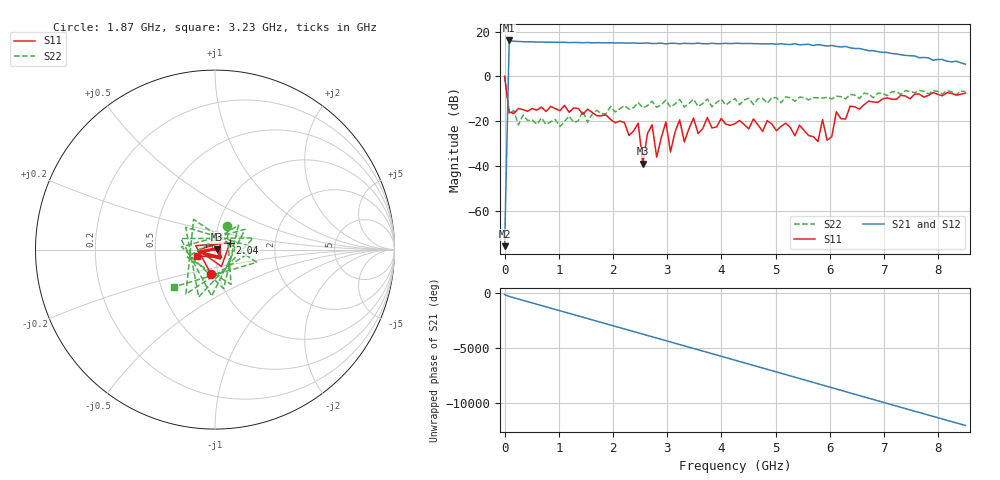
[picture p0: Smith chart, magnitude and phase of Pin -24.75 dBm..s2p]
! RsaToolbox (C) 2013 Rohde & Schwarz America
! Number of points: 101
! Number of ports: 2
! Balanced ports?: 0
# Hz S RI R 50
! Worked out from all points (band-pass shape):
!   101 points, 9 kHz to 8.5 GHz, reference 50 ohm
!   highest |S21| = 16.10 dB at 85.01 MHz (marker M1); lowest = -75.9 dB at 9 kHz (marker M2)
!   |S21| within 3 dB of the highest: 82.24 MHz to 6.334 GHz (6.252 GHz wide, 195 % of centre)
!   lowest |S11| = -39.0 dB at 2.55 GHz (marker M3), VSWR 1.02, Z = 51.1 + j0.28 ohm
!   |S11| at or under -10 dB: 53.57 MHz to 6.987 GHz (6.933 GHz wide, 197 % of centre); 7.119 GHz to 7.236 GHz (116.1 MHz wide, 1.62 % of centre); 7.479504 GHz to 7.480298 GHz (793.8 kHz wide, 0.0106 % of centre)
!   |S22| runs from -22.4 to 0.2 dB; largest |S21 - S12| = 0
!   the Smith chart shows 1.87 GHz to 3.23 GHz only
!   S11 on the Smith chart (normalised r, x): 1.87 GHz: 0.92, -0.26; 2.04 GHz: 1.18, +0.09; 3.23 GHz: 0.81, -0.06
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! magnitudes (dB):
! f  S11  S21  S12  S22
! 9 kHz  0.1  -75.9  -75.9  0.2
! 85.01 MHz  -15.9  16.1  16.1  -16.6
! 1.02 GHz  -15.3  15.2  15.2  -22.4
! 1.445 GHz  -16.9  15.1  15.1  -15.3
! 1.87 GHz  -17.2  15.0  15.0  -16.7
! 2.04 GHz  -20.7  15.0  15.0  -15.9
! 2.465 GHz  -20.9  14.8  14.8  -11.7
! 2.55 GHz  -39.0  14.9  14.9  -14.0
! 2.72 GHz  -21.6  14.7  14.7  -11.1
! 2.805 GHz  -36.1  14.8  14.8  -13.8
! 2.89 GHz  -27.4  14.9  14.9  -12.7
! 2.975 GHz  -20.3  14.6  14.6  -10.6
! 3.06 GHz  -33.8  14.8  14.8  -13.7
! 3.23 GHz  -19.4  14.6  14.6  -10.3
! 3.315 GHz  -29.3  14.8  14.8  -13.7
! 3.485 GHz  -18.6  14.7  14.7  -10.1
! 3.57 GHz  -25.5  14.9  14.9  -13.4
! 4.25 GHz  -21.1  14.8  14.8  -9.9
! 5.695 GHz  -26.9  13.8  13.8  -9.5
! 6.12 GHz  -15.8  13.4  13.4  -8.8
! 7.14 GHz  -10.2  10.3  10.3  -6.9
! 8.5 GHz  -7.4  5.5  5.5  -6.7
